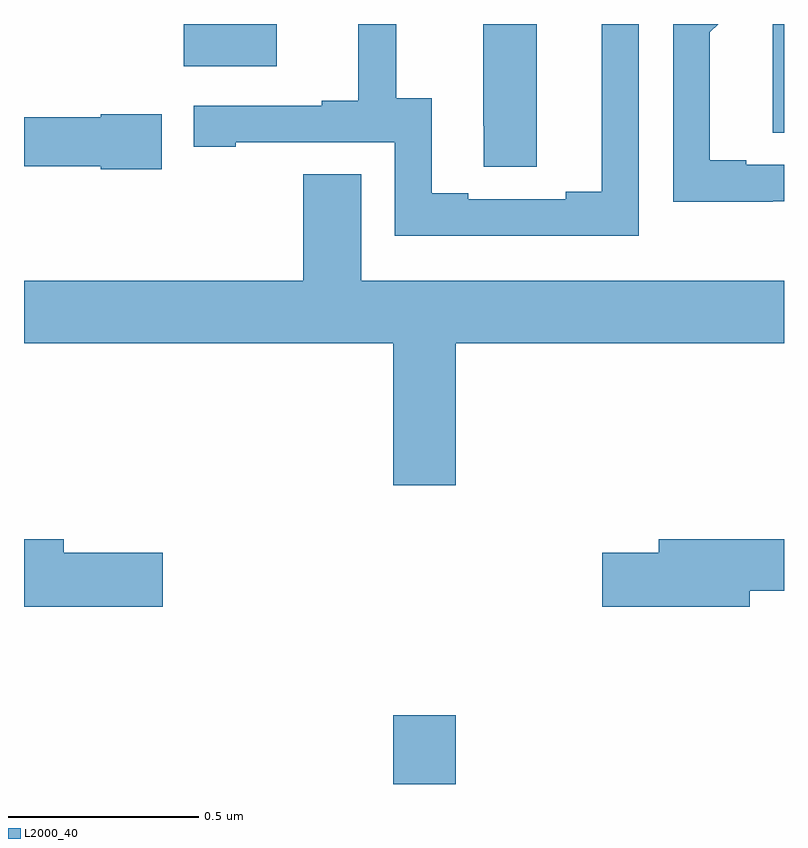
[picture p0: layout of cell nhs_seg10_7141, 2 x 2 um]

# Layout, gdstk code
import gdstk
lib = gdstk.Library(unit=1e-6, precision=1e-09)
def R(c, l, rs):  # rectangles x0, y0, x1, y1
    for r in rs: c.add(gdstk.rectangle(r[:2], r[2:], *l))
def P(c, l, *ps):  # polygons
    for p in ps: c.add(gdstk.Polygon(p, *l))
L2000_40 = (2000, 40)

nhs_seg10_7141 = lib.new_cell('nhs_seg10_7141')
R(nhs_seg10_7141, L2000_40, [(200.972,1288.5,201.136,1288.681), (201.971,1290.214,202,1290.5), (200.42,1290.389,200.665,1290.5)])
P(nhs_seg10_7141, L2000_40, [(201.971,1290.033),(202,1290.033),(202,1290.129),(201.901,1290.129),(201.901,1290.142),(201.805,1290.142),(201.805,1290.478),(201.827,1290.5),(201.708,1290.5),(201.708,1290.032),(201.971,1290.032)],
  [(201.349,1290.5),(201.209,1290.5),(201.209,1290.232),(201.21,1290.232),(201.21,1290.124),(201.349,1290.124)],
  [(201.618,1290.5),(201.521,1290.5),(201.521,1290.059),(201.425,1290.059),(201.425,1290.039),(201.169,1290.039),(201.169,1290.054),(201.073,1290.054),(201.073,1290.305),(200.979,1290.305),(200.979,1290.5),(200.879,1290.5),(200.879,1290.298),(200.783,1290.298),(200.783,1290.285),(200.447,1290.285),(200.447,1290.177),(200.557,1290.177),(200.557,1290.189),(200.976,1290.189),(200.976,1289.943),(201.618,1289.943)],
  [(200.362,1290.262),(200.202,1290.262),(200.202,1290.254),(200,1290.254),(200,1290.126),(200.202,1290.126),(200.202,1290.118),(200.362,1290.118)],
  [(201.136,1289.66),(202,1289.66),(202,1289.824),(200.887,1289.824),(200.887,1290.104),(200.735,1290.104),(200.735,1289.824),(200,1289.824),(200,1289.66),(200.972,1289.66),(200.972,1289.286),(201.136,1289.286)],
  [(201.91,1289.008),(202,1289.008),(202,1289.144),(201.671,1289.144),(201.671,1289.108),(201.522,1289.108),(201.522,1288.966),(201.91,1288.966)],
  [(200.365,1289.108),(200.104,1289.108),(200.104,1289.144),(200,1289.144),(200,1288.966),(200.365,1288.966)])

lib.write_gds('nhs_seg10_7141.gds')
